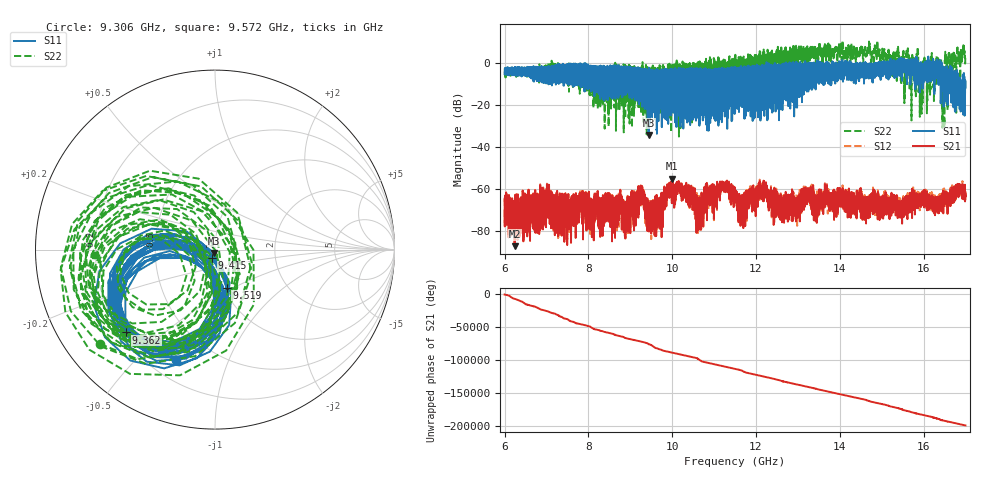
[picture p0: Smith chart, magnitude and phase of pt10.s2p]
#  HZ  S  RI  R  50.00
! Rohde & Schwarz Vector Network Analyzer
! Rohde-Schwarz,ZNA67-2Port,1332450062101215,3.01
! Created: UTC 10/26/2026, 4:27:34 PM
! freq[Hz]  re:S11  im:S11  re:S21  im:S21  re:S12  im:S12  re:S22  im:S22
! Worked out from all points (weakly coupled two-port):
!   11001 points, 6 GHz to 17 GHz, reference 50 ohm
!   highest |S21| = -55.04 dB at 9.998 GHz (marker M1); lowest = -87.3 dB at 6.239 GHz (marker M2)
!   lowest |S11| = -34.3 dB at 9.438 GHz (marker M3), VSWR 1.04, Z = 49.5 - j1.83 ohm
!   |S11| at or under -10 dB: 16.84098 GHz to 16.8564 GHz (15.42 MHz wide, 0.0915 % of centre); 16.88237 GHz to 16.91347 GHz (31.11 MHz wide, 0.184 % of centre); 16.97849 GHz to 16.99419 GHz (15.7 MHz wide, 0.0924 % of centre) (the widest 3 of 550)
!   |S22| runs from -35.0 to 10.8 dB; largest |S21 - S12| = 0.0011
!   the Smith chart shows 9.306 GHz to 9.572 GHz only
!   S11 on the Smith chart (normalised r, x): 9.306 GHz: 0.31, -0.66; 9.362 GHz: 0.22, -0.38; 9.415 GHz: 0.97, -0.09; 9.519 GHz: 1.03, -0.46; 9.572 GHz: 0.22, -0.22
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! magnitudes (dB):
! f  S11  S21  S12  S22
! 6 GHz  -5.2  -64.6  -64.7  -4.6
! 6.239 GHz  -2.1  -87.3  -84.2  -3.8
! 7.834 GHz  -1.1  -64.9  -65.3  -3.5
! 8.894 GHz  -5.0  -69.1  -69.0  -4.5
! 9.306 GHz  -3.7  -62.8  -62.8  -1.6
! 9.362 GHz  -3.4  -65.4  -65.5  -2.6
! 9.415 GHz  -26.0  -78.1  -77.6  -18.0
! 9.438 GHz  -34.3  -74.6  -75.1  -12.1
! 9.519 GHz  -13.1  -73.0  -71.1  -12.2
! 9.572 GHz  -3.7  -77.7  -76.2  -3.5
! 9.667 GHz  -3.7  -74.3  -73.3  -2.4
! 9.998 GHz  -18.7  -55.0  -54.8  -14.9
! 10.64 GHz  -4.0  -68.7  -70.8  -2.2
! 11.21 GHz  -15.8  -57.9  -58.1  -13.7
! 11.5 GHz  -8.0  -63.4  -63.7  -0.4
! 11.68 GHz  -2.9  -70.5  -70.1  -2.0
! 12.1 GHz  -18.0  -63.0  -62.8  0.0
! 12.65 GHz  -5.3  -70.6  -69.1  4.6
! 13.33 GHz  -6.2  -62.1  -62.9  2.9
! 15.17 GHz  -1.0  -68.4  -64.1  7.1
! 16.45 GHz  -13.0  -64.5  -64.6  -6.8
! 17 GHz  -11.9  -63.3  -61.3  3.8
